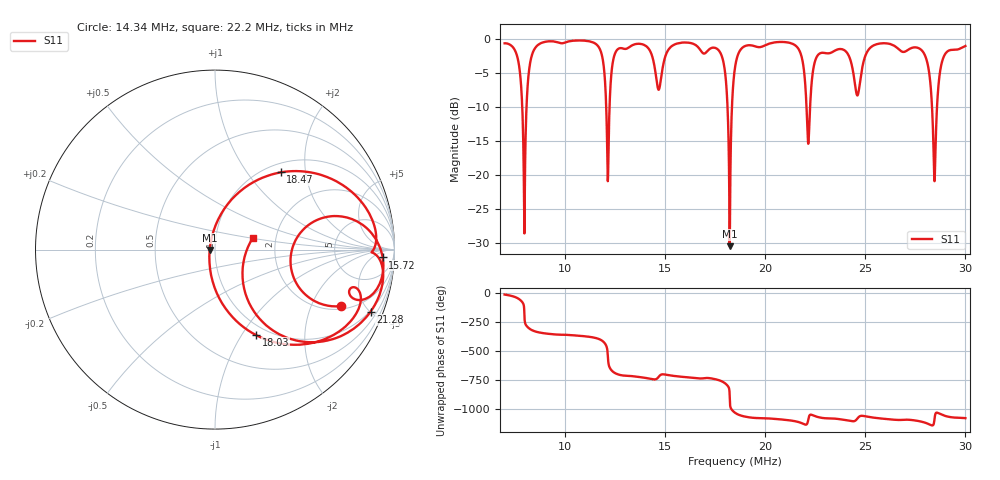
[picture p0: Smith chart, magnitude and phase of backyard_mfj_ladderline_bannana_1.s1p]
! Touchstone file generated by AntScope2
# MHz Z RI R 50
! Format: Frequency Z-real Z-imaginary (normalized to 50 Ohm)
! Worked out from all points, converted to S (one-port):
!   2001 points, 7 MHz to 30 MHz, reference 50 ohm
!   lowest |S11| = -30.5 dB at 18.24 MHz (marker M1), VSWR 1.06, Z = 47.1 - j0.25 ohm
!   |S11| at or under -10 dB: 7.88 MHz to 8.093 MHz (213.2 kHz wide, 2.67 % of centre); 18.13 MHz to 18.35 MHz (221 kHz wide, 1.21 % of centre); 28.33 MHz to 28.58 MHz (248.9 kHz wide, 0.875 % of centre)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
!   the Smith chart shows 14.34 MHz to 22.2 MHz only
!   S11 on the Smith chart (normalised r, x): 14.34 MHz: 2.18, -3.37; 15.72 MHz: 20, -14; 18.03 MHz: 0.88, -1.16; 18.47 MHz: 1.16, +1.47; 21.28 MHz: 0.94, -5.02; 22.2 MHz: 1.52, +0.21
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7  1.753 -6.703
7.6785  0.8724 -1.792
7.9775  0.9274 -0.0492
8.4145  1.194 2.916
9.875  21.18 -12.11
11.462  0.5656 -4.074
12.129  0.8134 -0.1466
12.3475  1.141 1.56
12.75  4.958 6.264
14.337  2.179 -3.369
15.625  25.35 -6.101
15.717  20.02 -14
17.488  1.454 -4.098
18.0285  0.8776 -1.157
18.2355  0.942 -0.005
18.4655  1.16 1.467
18.5  1.214 1.714
21.283  0.9378 -5.025
21.375  0.8882 -4.504
22.203  1.518 0.2102
22.7435  7.739 2.121
24.25  2.19 -2.733
24.917  3.271 2.5
27.125  3.646 -5.048
28.0565  1.006 -2.011
28.4245  1.16 -0.2212
28.8845  2.391 2.889
30  16.55 -2.886
